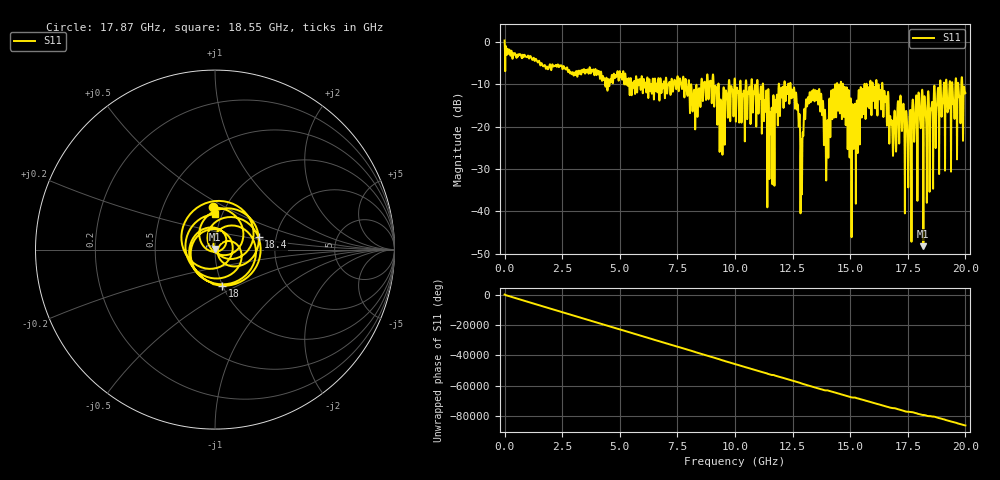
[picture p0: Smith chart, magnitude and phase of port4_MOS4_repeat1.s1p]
! MS46122B
! 2250307/22442219
! 7/21/2025 12:17:13 PM
! C:\USERS\SPARKY\DOCUMENTS\VNA_DATA\JULY21_2025\295K\PORT4_MOS4_REPEAT1.S1P
! CHANNEL.1
! TR.MEASUREMENT
! RAW.DATA
# GHZ S RI R 50.0
! FREQ.GHZ  S11RE  S11IM
!; PortSelection: Port_1
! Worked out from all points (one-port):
!   10001 points, 1 MHz to 20 GHz, reference 50 ohm
!   lowest |S11| = -48.2 dB at 18.18 GHz (marker M1), VSWR 1.01, Z = 49.9 + j0.372 ohm
!   |S11| at or under -10 dB: 12.41 GHz to 14.34 GHz (1.929 GHz wide, 14.4 % of centre); 14.69 GHz to 15.62 GHz (928.1 MHz wide, 6.13 % of centre); 16.4 GHz to 18.9 GHz (2.493 GHz wide, 14.1 % of centre) (the widest 3 of 72)
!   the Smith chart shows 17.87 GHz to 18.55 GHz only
!   S11 on the Smith chart (normalised r, x): 17.87 GHz: 0.87, +0.43; 18 GHz: 0.99, -0.42; 18.4 GHz: 1.62, +0.24; 18.55 GHz: 0.92, +0.38
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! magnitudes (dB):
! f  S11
! 1 MHz  0.4
! 2.501 GHz  -6.2
! 5.001 GHz  -6.9
! 7.501 GHz  -8.1
! 8.211 GHz  -11.8
! 8.977 GHz  -12.2
! 9.399 GHz  -13.9
! 10 GHz  -9.0
! 11.04 GHz  -12.9
! 11.56 GHz  -20.4
! 12.5 GHz  -11.8
! 12.88 GHz  -23.7
! 13.33 GHz  -11.6
! 13.73 GHz  -12.3
! 13.96 GHz  -32.4
! 14.43 GHz  -9.7
! 15 GHz  -14.7
! 16.05 GHz  -10.7
! 16.57 GHz  -13.9
! 16.78 GHz  -19.0
! 17.24 GHz  -21.0
! 17.5 GHz  -26.3
! 17.87 GHz  -12.6
! 18 GHz  -13.8
! 18.18 GHz  -48.2
! 18.4 GHz  -11.9
! 18.55 GHz  -14.1
! 20 GHz  -12.0
